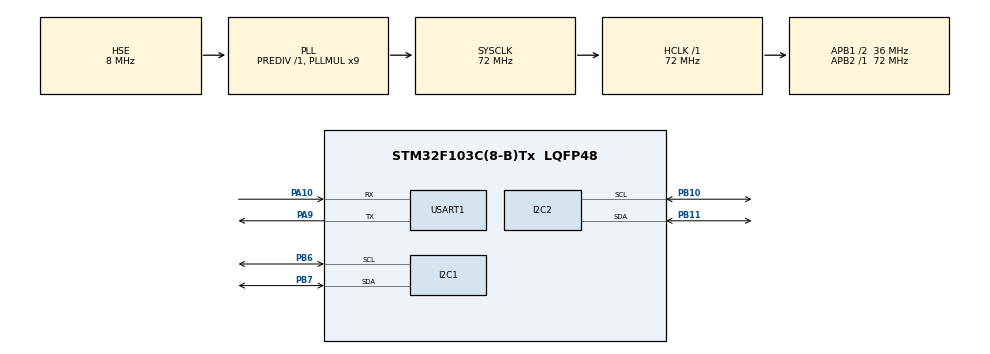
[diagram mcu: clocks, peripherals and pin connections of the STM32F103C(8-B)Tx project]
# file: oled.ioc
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Mcu.Family=STM32F1
Mcu.Name=STM32F103C(8-B)Tx
Mcu.Package=LQFP48
NVIC.PriorityGroup=NVIC_PRIORITYGROUP_4
PA10.Mode=Asynchronous
PA10.Signal=USART1_RX
PA13.Mode=Serial_Wire
PA13.Signal=SYS_JTMS-SWDIO
PA14.Mode=Serial_Wire
PA14.Signal=SYS_JTCK-SWCLK
PA9.Mode=Asynchronous
PA9.Signal=USART1_TX
PB10.Mode=I2C
PB10.Signal=I2C2_SCL
PB11.Mode=I2C
PB11.Signal=I2C2_SDA
PB6.Mode=I2C
PB6.Signal=I2C1_SCL
PB7.Mode=I2C
PB7.Signal=I2C1_SDA
PD0-OSC_IN.Mode=HSE-External-Oscillator
PD0-OSC_IN.Signal=RCC_OSC_IN
PD1-OSC_OUT.Mode=HSE-External-Oscillator
PD1-OSC_OUT.Signal=RCC_OSC_OUT
ProjectManager.HeapSize=0x200
ProjectManager.StackSize=0x400
ProjectManager.TargetToolchain=MDK-ARM V5.32
RCC.AHBFreq_Value=72000000
RCC.APB1CLKDivider=RCC_HCLK_DIV2
RCC.APB1Freq_Value=36000000
RCC.APB1TimFreq_Value=72000000
RCC.APB2Freq_Value=72000000
RCC.APB2TimFreq_Value=72000000
RCC.HCLKFreq_Value=72000000
RCC.PLLMUL=RCC_PLL_MUL9
RCC.PLLSourceVirtual=RCC_PLLSOURCE_HSE
RCC.SYSCLKFreq_VALUE=72000000
RCC.SYSCLKSource=RCC_SYSCLKSOURCE_PLLCLK
RCC.USBFreq_Value=72000000
USART1.VirtualMode=VM_ASYNC
board=custom

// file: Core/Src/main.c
/* USER CODE BEGIN Header */
/**
  ******************************************************************************
  * @file           : main.c
  * @brief          : Main program body
  ******************************************************************************
  * @attention
  *
  * Copyright (c) 2025 STMicroelectronics.
  * All rights reserved.
  *
  * This software is licensed under terms that can be found in the LICENSE file
  * in the root directory of this software component.
  * If no LICENSE file comes with this software, it is provided AS-IS.
  *
  ******************************************************************************
  */
/* USER CODE END Header */
#include "main.h"

/* USER CODE BEGIN Includes */
#include "sh1106.h"
#include "fonts.h"
#include "max30100_for_stm32_hal.h"
#include "stdio.h"
/* USER CODE END Includes */

I2C_HandleTypeDef hi2c1;
I2C_HandleTypeDef hi2c2;

UART_HandleTypeDef huart1;

void SystemClock_Config(void);
static void MX_GPIO_Init(void);
static void MX_I2C1_Init(void);
static void MX_I2C2_Init(void);
static void MX_USART1_UART_Init(void);

int main(void)
{

  /* MCU Configuration--------------------------------------------------------*/

  /* Reset of all peripherals, Initializes the Flash interface and the Systick. */
  HAL_Init();

  /* Configure the system clock */
  SystemClock_Config();

  /* Initialize all configured peripherals */
  MX_GPIO_Init();
  MX_I2C1_Init();
  MX_I2C2_Init();
  MX_USART1_UART_Init();
  /* USER CODE BEGIN 2 */
    SH1106_Init();
    SH1106_Clear();
    SH1106_GotoXY(15, 0);
    SH1106_Puts("MAX30100 TEST", &Font_7x10, 1);
    SH1106_UpdateScreen();

    /* --- Khởi tạo MAX30100 --- */
    MAX30100_Init(&hi2c2, &huart1);
    MAX30100_SetMode(MAX30100_SPO2_MODE);
    MAX30100_SetLEDCurrent(MAX30100_LEDCURRENT_DEFAULT, MAX30100_LEDCURRENT_DEFAULT);

    HAL_Delay(1000);
    SH1106_Clear();

    char line1[20], line2[20];
  /* USER CODE END 2 */

  /* Infinite loop */
  while (1)
  {

    /* USER CODE BEGIN 3 */
		  // Đọc dữ liệu từ FIFO
        MAX30100_ReadFIFO();

        // Lấy mẫu IR và RED để ước lượng nhịp tim & SpO2 (đơn giản)
        uint32_t ir_avg = 0, red_avg = 0;
        for (uint8_t i = 0; i < 16; i++)
        {
            ir_avg += _max30100_ir_sample[i];
            red_avg += _max30100_red_sample[i];
        }
        ir_avg /= 16;
        red_avg /= 16;

        // Giả lập tính SpO2 và BPM (vì thư viện này chỉ cung cấp raw data)
        float spo2 = (float)red_avg / (ir_avg + 1) * 100.0f;
        if (spo2 > 99) spo2 = 99;
        if (spo2 < 70) spo2 = 70;

        // Nhịp tim giả lập bằng biên độ thay đổi IR (đơn giản để hiển thị)
        uint16_t bpm = (ir_avg % 50) + 70;

        // Hiển thị lên OLED
        sprintf(line1, "Heart: %3d BPM", bpm);
        sprintf(line2, "SpO2 : %3.1f %%", spo2);

        SH1106_Clear();
        SH1106_GotoXY(10, 20);
        SH1106_Puts(line1, &Font_7x10, 1);
        SH1106_GotoXY(10, 40);
        SH1106_Puts(line2, &Font_7x10, 1);
        SH1106_UpdateScreen();

        // Gửi ra UART để debug
        char uart_buf[50];
   //     sprintf(uart_buf, "IR=%lu RED=%lu | BPM=%d SpO2=%.1f\r\n", ir_avg, red_avg, bpm, spo2);
        HAL_UART_Transmit(&huart1, (uint8_t*)uart_buf, strlen(uart_buf), 100);

        HAL_Delay(500);
	}
  /* USER CODE END 3 */
}

void SystemClock_Config(void)
{
  RCC_OscInitTypeDef RCC_OscInitStruct = {0};
  RCC_ClkInitTypeDef RCC_ClkInitStruct = {0};

  /** Initializes the RCC Oscillators according to the specified parameters
  * in the RCC_OscInitTypeDef structure.
  */
  RCC_OscInitStruct.OscillatorType = RCC_OSCILLATORTYPE_HSE;
  RCC_OscInitStruct.HSEState = RCC_HSE_ON;
  RCC_OscInitStruct.HSEPredivValue = RCC_HSE_PREDIV_DIV1;
  RCC_OscInitStruct.HSIState = RCC_HSI_ON;
  RCC_OscInitStruct.PLL.PLLState = RCC_PLL_ON;
  RCC_OscInitStruct.PLL.PLLSource = RCC_PLLSOURCE_HSE;
  RCC_OscInitStruct.PLL.PLLMUL = RCC_PLL_MUL9;
  if (HAL_RCC_OscConfig(&RCC_OscInitStruct) != HAL_OK)
  {
    Error_Handler();
  }

  /** Initializes the CPU, AHB and APB buses clocks
  */
  RCC_ClkInitStruct.ClockType = RCC_CLOCKTYPE_HCLK|RCC_CLOCKTYPE_SYSCLK
                              |RCC_CLOCKTYPE_PCLK1|RCC_CLOCKTYPE_PCLK2;
  RCC_ClkInitStruct.SYSCLKSource = RCC_SYSCLKSOURCE_PLLCLK;
  RCC_ClkInitStruct.AHBCLKDivider = RCC_SYSCLK_DIV1;
  RCC_ClkInitStruct.APB1CLKDivider = RCC_HCLK_DIV2;
  RCC_ClkInitStruct.APB2CLKDivider = RCC_HCLK_DIV1;

  if (HAL_RCC_ClockConfig(&RCC_ClkInitStruct, FLASH_LATENCY_2) != HAL_OK)
  {
    Error_Handler();
  }
}

static void MX_I2C1_Init(void)
{

  hi2c1.Instance = I2C1;
  hi2c1.Init.ClockSpeed = 100000;
  hi2c1.Init.DutyCycle = I2C_DUTYCYCLE_2;
  hi2c1.Init.OwnAddress1 = 0;
  hi2c1.Init.AddressingMode = I2C_ADDRESSINGMODE_7BIT;
  hi2c1.Init.DualAddressMode = I2C_DUALADDRESS_DISABLE;
  hi2c1.Init.OwnAddress2 = 0;
  hi2c1.Init.GeneralCallMode = I2C_GENERALCALL_DISABLE;
  hi2c1.Init.NoStretchMode = I2C_NOSTRETCH_DISABLE;
  if (HAL_I2C_Init(&hi2c1) != HAL_OK)
  {
    Error_Handler();
  }

}

static void MX_I2C2_Init(void)
{

  hi2c2.Instance = I2C2;
  hi2c2.Init.ClockSpeed = 100000;
  hi2c2.Init.DutyCycle = I2C_DUTYCYCLE_2;
  hi2c2.Init.OwnAddress1 = 0;
  hi2c2.Init.AddressingMode = I2C_ADDRESSINGMODE_7BIT;
  hi2c2.Init.DualAddressMode = I2C_DUALADDRESS_DISABLE;
  hi2c2.Init.OwnAddress2 = 0;
  hi2c2.Init.GeneralCallMode = I2C_GENERALCALL_DISABLE;
  hi2c2.Init.NoStretchMode = I2C_NOSTRETCH_DISABLE;
  if (HAL_I2C_Init(&hi2c2) != HAL_OK)
  {
    Error_Handler();
  }

}

static void MX_USART1_UART_Init(void)
{

  huart1.Instance = USART1;
  huart1.Init.BaudRate = 115200;
  huart1.Init.WordLength = UART_WORDLENGTH_8B;
  huart1.Init.StopBits = UART_STOPBITS_1;
  huart1.Init.Parity = UART_PARITY_NONE;
  huart1.Init.Mode = UART_MODE_TX_RX;
  huart1.Init.HwFlowCtl = UART_HWCONTROL_NONE;
  huart1.Init.OverSampling = UART_OVERSAMPLING_16;
  if (HAL_UART_Init(&huart1) != HAL_OK)
  {
    Error_Handler();
  }

}

static void MX_GPIO_Init(void)
{

  /* GPIO Ports Clock Enable */
  __HAL_RCC_GPIOD_CLK_ENABLE();
  __HAL_RCC_GPIOB_CLK_ENABLE();
  __HAL_RCC_GPIOA_CLK_ENABLE();

}

void Error_Handler(void)
{
  __disable_irq();
  while (1)
  {
  }
}
